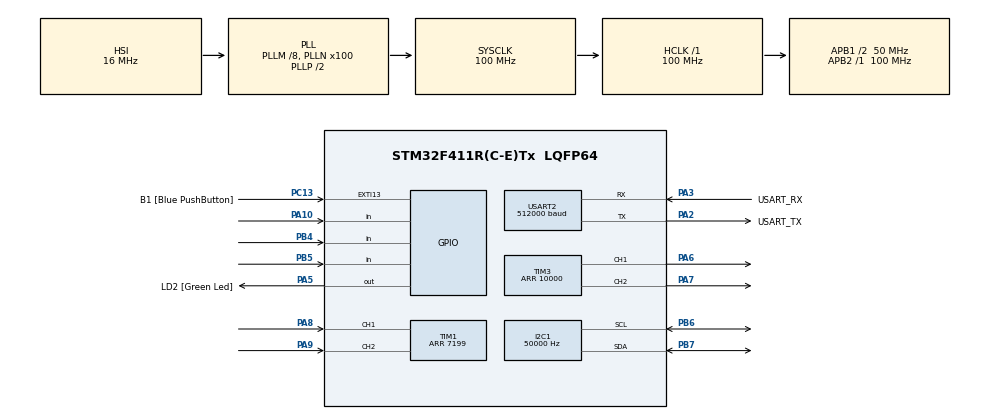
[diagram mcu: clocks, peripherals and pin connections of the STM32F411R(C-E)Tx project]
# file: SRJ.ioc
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Dma.Request0=USART2_RX
Dma.Request1=USART2_TX
Dma.USART2_RX.0.Direction=DMA_PERIPH_TO_MEMORY
Dma.USART2_RX.0.FIFOMode=DMA_FIFOMODE_DISABLE
Dma.USART2_RX.0.Instance=DMA1_Stream5
Dma.USART2_RX.0.MemDataAlignment=DMA_MDATAALIGN_BYTE
Dma.USART2_RX.0.MemInc=DMA_MINC_ENABLE
Dma.USART2_RX.0.Mode=DMA_CIRCULAR
Dma.USART2_RX.0.PeriphDataAlignment=DMA_PDATAALIGN_BYTE
Dma.USART2_RX.0.PeriphInc=DMA_PINC_DISABLE
Dma.USART2_RX.0.Priority=DMA_PRIORITY_LOW
Dma.USART2_TX.1.Direction=DMA_MEMORY_TO_PERIPH
Dma.USART2_TX.1.FIFOMode=DMA_FIFOMODE_DISABLE
Dma.USART2_TX.1.Instance=DMA1_Stream6
Dma.USART2_TX.1.MemDataAlignment=DMA_MDATAALIGN_BYTE
Dma.USART2_TX.1.MemInc=DMA_MINC_ENABLE
Dma.USART2_TX.1.Mode=DMA_NORMAL
Dma.USART2_TX.1.PeriphDataAlignment=DMA_PDATAALIGN_BYTE
Dma.USART2_TX.1.PeriphInc=DMA_PINC_DISABLE
Dma.USART2_TX.1.Priority=DMA_PRIORITY_LOW
I2C1.ClockSpeed=50000
I2C1.I2C_Mode=I2C_Standard
Mcu.Family=STM32F4
Mcu.Name=STM32F411R(C-E)Tx
Mcu.Package=LQFP64
NVIC.DMA1_Stream5_IRQn=true\:0\:0\:false\:false\:true\:false\:true
NVIC.DMA1_Stream6_IRQn=true\:0\:0\:false\:false\:true\:false\:true
NVIC.I2C1_ER_IRQn=true\:0\:0\:false\:false\:true\:true\:true
NVIC.I2C1_EV_IRQn=true\:0\:0\:false\:false\:true\:true\:true
NVIC.PriorityGroup=NVIC_PRIORITYGROUP_0
NVIC.TIM2_IRQn=true\:0\:0\:false\:false\:true\:true\:true
NVIC.TIM4_IRQn=true\:0\:0\:false\:false\:true\:true\:true
NVIC.USART2_IRQn=true\:0\:0\:false\:false\:true\:true\:true
PA10.Signal=GPIO_Input
PA13.GPIO_Label=TMS
PA13.Mode=Serial_Wire
PA13.Signal=SYS_JTMS-SWDIO
PA14.GPIO_Label=TCK
PA14.Mode=Serial_Wire
PA14.Signal=SYS_JTCK-SWCLK
PA2.GPIO_Label=USART_TX
PA2.Mode=Asynchronous
PA2.Signal=USART2_TX
PA3.GPIO_Label=USART_RX
PA3.Mode=Asynchronous
PA3.Signal=USART2_RX
PA5.GPIO_Label=LD2 [Green Led]
PA5.Signal=GPIO_Output
PA6.Signal=S_TIM3_CH1
PA7.Signal=S_TIM3_CH2
PA8.Signal=S_TIM1_CH1
PA9.Signal=S_TIM1_CH2
PB3.GPIO_Label=SWO
PB3.Signal=SYS_JTDO-SWO
PB4.Signal=GPIO_Input
PB5.Signal=GPIO_Input
PB6.Mode=I2C
PB6.Signal=I2C1_SCL
PB7.Mode=I2C
PB7.Signal=I2C1_SDA
PC13-ANTI_TAMP.GPIO_Label=B1 [Blue PushButton]
PC13-ANTI_TAMP.GPIO_ModeDefaultEXTI=GPIO_MODE_IT_FALLING
PC13-ANTI_TAMP.Signal=GPXTI13
PC14-OSC32_IN.Mode=LSE-External-Oscillator
PC14-OSC32_IN.Signal=RCC_OSC32_IN
PC15-OSC32_OUT.Mode=LSE-External-Oscillator
PC15-OSC32_OUT.Signal=RCC_OSC32_OUT
PH0\ -\ OSC_IN.Mode=HSE-External-Clock-Source
PH0\ -\ OSC_IN.Signal=RCC_OSC_IN
PH1\ -\ OSC_OUT.Mode=HSE-External-Clock-Source
PH1\ -\ OSC_OUT.Signal=RCC_OSC_OUT
ProjectManager.HeapSize=0x200
ProjectManager.StackSize=0x400
ProjectManager.TargetToolchain=STM32CubeIDE
RCC.48MHZClocksFreq_Value=50000000
RCC.AHBFreq_Value=100000000
RCC.APB1CLKDivider=RCC_HCLK_DIV2
RCC.APB1Freq_Value=50000000
RCC.APB1TimFreq_Value=100000000
RCC.APB2Freq_Value=100000000
RCC.APB2TimFreq_Value=100000000
RCC.CortexFreq_Value=100000000
RCC.FLatency-AdvancedSettings=FLASH_LATENCY_3
RCC.HCLKFreq_Value=100000000
RCC.HSE_VALUE=8000000
RCC.HSI_VALUE=16000000
RCC.PLLM=8
RCC.PLLN=100
RCC.SYSCLKFreq_VALUE=100000000
RCC.SYSCLKSource=RCC_SYSCLKSOURCE_PLLCLK
RCC.VCOOutputFreq_Value=200000000
SH.S_TIM1_CH1.0=TIM1_CH1,Encoder_Interface
SH.S_TIM1_CH2.0=TIM1_CH2,Encoder_Interface
SH.S_TIM3_CH1.0=TIM3_CH1,PWM Generation1 CH1
SH.S_TIM3_CH2.0=TIM3_CH2,PWM Generation2 CH2
TIM1.CounterMode=TIM_COUNTERMODE_UP
TIM1.EncoderMode=TIM_ENCODERMODE_TI12
TIM1.IC2Polarity=TIM_ICPOLARITY_FALLING
TIM1.Period=7199
TIM2.Prescaler=99
TIM3.Channel-PWM\ Generation1\ CH1=TIM_CHANNEL_1
TIM3.Channel-PWM\ Generation2\ CH2=TIM_CHANNEL_2
TIM3.Period=10000
TIM4.Period=10000
TIM4.Prescaler=99
USART2.BaudRate=512000
USART2.Parity=PARITY_EVEN
USART2.VirtualMode=VM_ASYNC
USART2.WordLength=WORDLENGTH_9B
VP_TIM2_VS_ClockSourceINT.Mode=Internal
VP_TIM4_VS_ClockSourceINT.Mode=Internal
board=NUCLEO-F411RE

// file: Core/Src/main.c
/* USER CODE BEGIN Header */
/**
  ******************************************************************************
  * @file           : main.c
  * @brief          : Main program body
  ******************************************************************************
  * @attention
  *
  * <h2><center>&copy; Copyright (c) 2022 STMicroelectronics.
  * All rights reserved.</center></h2>
  *
  * This software component is licensed by ST under BSD 3-Clause license,
  * the "License"; You may not use this file except in compliance with the
  * License. You may obtain a copy of the License at:
  *                        opensource.org/licenses/BSD-3-Clause
  *
  ******************************************************************************
  */
/* USER CODE END Header */
#include "main.h"

/* USER CODE BEGIN Includes */
#include "math.h"
#include "stdio.h"
#include <stdlib.h>
#include "string.h"
/* USER CODE END Includes */

/* USER CODE BEGIN PD */
#define EndeffAddress (0x23<<1)
/* USER CODE END PD */

I2C_HandleTypeDef hi2c1;

TIM_HandleTypeDef htim1;
TIM_HandleTypeDef htim2;
TIM_HandleTypeDef htim3;
TIM_HandleTypeDef htim4;

UART_HandleTypeDef huart2;
DMA_HandleTypeDef hdma_usart2_rx;
DMA_HandleTypeDef hdma_usart2_tx;

/* USER CODE BEGIN PV */

uint8_t test = 0;

uint8_t EmergencyArray[2] = {1,1};
uint8_t ButtonArray[2] = {1,1};  //[Now, Last] = {UP, UP}
uint64_t _micros = 0;
uint64_t Timestamp = 0;
uint64_t HomeTimestamp = 0;
uint64_t LaserTimestamp = 0;
uint64_t EmergencyTimestamp = 0;
uint64_t LaserDelay = 5000000;
uint8_t  HomeMode = 0;
uint8_t ProxiArray[2]   = {1,1};

int PWMOut = 0;

uint16_t RobotArm_Position = 0;

float dt    = 0.001;
float K_P	= 1200;
float K_I	= 650;
float K_D	= 0;

float a=0.9;float w=0.103;
float rad=0;float raw=0;
float Q=0;float R=0;float theta_est=0;float omega_est=0;float dt1=0.01;float theta_pd=0;float y=0;float p11=0;
float p12=0;float p21=0;float p22=0;float omega_pd=0;float a0=0;float a1=0;float a2=0;float a3=0;float a4=0;float a5=0;
float sb=0;float sa=0;float tf=0;float vb=0;float sbf=0;float t=0;float Vmax=0;float vcon =0;
float p=0;
float i=0;
float d=0;
float pre_error=0;float error=0;
uint8_t push=0;float n=0;float angle=0;float kalman_theta=0;float rb_pos=0;float float_encode=0;
uint8_t flag_case = 0;
float get_station=0;float get_position=0;float now_postion=0;
float sample1 = 99.0; float sample2 = 100.0;

uint8_t reverse = 0;
float distance = 0;

float graph_p=0;
float graph_v=0;
float graph_a=0;
float v_pre=0;
float v_aft=0;
float p2graph=0;
float v2graph=0;
float a2graph=0;

uint8_t LaserOpenCommand[1] = {0x45};

typedef struct _UartStructure
{
	UART_HandleTypeDef *huart;
	uint16_t TxLen, RxLen;
	uint8_t *TxBuffer;
	uint16_t TxTail, TxHead;
	uint8_t *RxBuffer;
	uint16_t RxTail;

} UARTStucrture;

UARTStucrture UART2 = { 0 };

float pi = 3.14159265359;

float    Lastest_Angle = 0;
float    Current_Angle = 0;
uint8_t  Current_Station = 0;
uint8_t  Current_Multi_Station = 0; // 1-15
uint8_t  Clockwise = 0;
uint8_t  Goal_Mode = 0; // 1-3
float    Speed = 0;
uint8_t   s = 0;
uint8_t ak[2] = {0};

uint8_t  Serial_Mode;
uint16_t Serial_Angle;
uint8_t  Serial_Speed;

uint16_t Delay = 0;
uint8_t Emergency = 0;
uint8_t Run  = 0;
uint8_t Home = 0;
uint8_t SpecialHome = 0;
uint8_t Laser = 0;
uint8_t MCU_Connected = 0;
uint8_t EndEff_Enable = 0;
float Max_Speed = 0;
float Goal_Angle = 0;
uint8_t Single_Station = 0;

int16_t InputChar      	= 0;
uint8_t InputByte 		= 0;
uint8_t ChkSum			= 0;
uint8_t Data_Frame2[2]  = {0};
uint8_t Data_Frame3[8]  = {0};

uint8_t Multi_Station[16] = {0};
uint8_t Multi_Station_Amount = 0;
uint8_t Multi_Station_Current = 0;

//uint16_t Multi_Station_Angle[11] = {0};
//                                        1  2  3  4   5  6   7   8   9  10
uint16_t Multi_Station_Angle[11] = {0,    80,85,90,95,260,25,115,205,295,0};
//uint16_t Multi_Station_Angle[11] = {0,    0,5,45,65,90,180,210,270,325,355};

uint8_t UART_Mode = 0;

uint8_t UART_Mode_Print = 0;

uint8_t UART_Flow2_Ack = 0;

typedef enum
{
	Start,

	Frame1_CheckSum,

	Frame2_Data1,
	Frame2_Data2,
	Frame2_CheckSum,

	Frame3_Station,
	Frame3_Data,
	Frame3_CheckSum,

} ProtocalState;

/* USER CODE END PV */

void SystemClock_Config(void);
static void MX_GPIO_Init(void);
static void MX_DMA_Init(void);
static void MX_USART2_UART_Init(void);
static void MX_I2C1_Init(void);
static void MX_TIM1_Init(void);
static void MX_TIM3_Init(void);
static void MX_TIM2_Init(void);
static void MX_TIM4_Init(void);
/* USER CODE BEGIN PFP */

void NucleoCheck();
void EmergencyCheck();
uint64_t micros();
void ProxiCheck();
void MotorDrive();
void SetHome();
uint32_t EncoderPosition_Update();
float EncoderVelocity_Update();
void ReachGoal();
void pid();
void kalmanfilter();
void planning();
void VariableReset();

void UARTInit(UARTStucrture *uart);
void UARTResetStart(UARTStucrture *uart);
uint32_t UARTGetRxHead(UARTStucrture *uart);
int16_t UARTReadChar(UARTStucrture *uart);
void UARTTxDumpBuffer(UARTStucrture *uart);
void UARTTxWrite(UARTStucrture *uart, uint8_t *pData, uint16_t len);

void UART_Ack1();
void UART_Ack2();
void UART_Flow2();
void UART_Protocal();
void UART_Execute();

/* USER CODE END PFP */

int main(void)
{

  /* MCU Configuration--------------------------------------------------------*/

  /* Reset of all peripherals, Initializes the Flash interface and the Systick. */
  HAL_Init();

  /* Configure the system clock */
  SystemClock_Config();

  /* Initialize all configured peripherals */
  MX_GPIO_Init();
  MX_DMA_Init();
  MX_USART2_UART_Init();
  MX_I2C1_Init();
  MX_TIM1_Init();
  MX_TIM3_Init();
  MX_TIM2_Init();
  MX_TIM4_Init();
  /* USER CODE BEGIN 2 */
  UART2.huart = &huart2;
  UART2.RxLen = 255;
  UART2.TxLen = 255;
  UARTInit(&UART2);
  UARTResetStart(&UART2);

  HAL_TIM_Base_Start_IT(&htim2);
  HAL_TIM_Base_Start(&htim3);
  HAL_TIM_PWM_Start(&htim3, TIM_CHANNEL_1);
  HAL_TIM_PWM_Start(&htim3, TIM_CHANNEL_2);

  if(HAL_GPIO_ReadPin(GPIOA, GPIO_PIN_10) == 1)
  {
	  HomeMode = 10;
	  SetHome();
  }
  /* USER CODE END 2 */

  /* Infinite loop */
  /* USER CODE BEGIN WHILE */
  /////////////////////////////////////////////////////////////
  while (1)
  {
	  if (micros() - Timestamp >= 10000) //10000us = 0.01s = 100Hz
	  {
		  Timestamp = micros();

		  NucleoCheck();
		  EmergencyCheck();

		  if(UART_Flow2_Ack)
		  {
			while(1)
			{
				while(1)
				{
					InputChar = UARTReadChar(&UART2);
					if(InputChar != -1)
					{
						InputByte = (uint8_t)InputChar;
						ak[0] = InputByte;
						break;
					}
				}
				while(1)
				{
					InputChar = UARTReadChar(&UART2);
					if(InputChar != -1)
					{
						InputByte = (uint8_t)InputChar;
						ak[1] = InputByte;
						break;
					}
				}
				if(ak[0] == 'X' && ak[1] == 'u')
				{
					break;
				}
			}
		  }
		  else
		  {
			  UART_Protocal();
		  }

		  //----------------------------------------------

		  if(Laser)
		  {
			  if(EndEff_Enable) { LaserDelay = 5000000; } //5000000us = 5s
			  else              { LaserDelay = 1000000; } //1000000us = 1s

			  if (micros() - LaserTimestamp >= LaserDelay)
			  {
				  if(Goal_Mode == 3)
				  {
					  if(Current_Multi_Station == Multi_Station_Amount-1)
					  {
						  UART_Ack2();
						  Goal_Mode = 0;
					  }
					  else
					  {
						  Current_Multi_Station += 1;
						  angle = Multi_Station_Angle[ Multi_Station[Current_Multi_Station] ];
						  Lastest_Angle = Current_Angle;
						  Run = 1;
					  }
				  }
				  else
				  {
					  UART_Ack2();
					  Goal_Mode = 0;
				  }
				  Laser = 0;
				  t = 0;
			  }
		  }

		  if(Emergency)
		  {
			  if(Emergency == 2)
			  {
				  if(micros() - EmergencyTimestamp >= 1000000)
				  {
					  VariableReset();
					  Emergency = 0;
					  Lastest_Angle = Current_Angle;
					  t = 0;
				  }
				  else
				  {
					  PWMOut = 0;
					  MotorDrive();
				  }
			  }
		  }
		  else if(Run)
		  {
			  if(angle == 0)
			  {
				  angle = 10;
				  SpecialHome = 1;
			  }
			  else
			  {
				  RobotArm_Position = EncoderPosition_Update();
				  EncoderVelocity_Update();
				  planning();
				  kalmanfilter();
				  pid();
				  MotorDrive();
			  }
		  }

		  else if(Home)
		  {
			  RobotArm_Position = EncoderPosition_Update();
			  kalmanfilter();
			  SetHome();
		  }
	  }

    /* USER CODE END WHILE */

    /* USER CODE BEGIN 3 */
  }
  /////////////////////////////////////////////////////////////
  /* USER CODE END 3 */
}

void SystemClock_Config(void)
{
  RCC_OscInitTypeDef RCC_OscInitStruct = {0};
  RCC_ClkInitTypeDef RCC_ClkInitStruct = {0};

  /** Configure the main internal regulator output voltage
  */
  __HAL_RCC_PWR_CLK_ENABLE();
  __HAL_PWR_VOLTAGESCALING_CONFIG(PWR_REGULATOR_VOLTAGE_SCALE1);
  /** Initializes the RCC Oscillators according to the specified parameters
  * in the RCC_OscInitTypeDef structure.
  */
  RCC_OscInitStruct.OscillatorType = RCC_OSCILLATORTYPE_HSI;
  RCC_OscInitStruct.HSIState = RCC_HSI_ON;
  RCC_OscInitStruct.HSICalibrationValue = RCC_HSICALIBRATION_DEFAULT;
  RCC_OscInitStruct.PLL.PLLState = RCC_PLL_ON;
  RCC_OscInitStruct.PLL.PLLSource = RCC_PLLSOURCE_HSI;
  RCC_OscInitStruct.PLL.PLLM = 8;
  RCC_OscInitStruct.PLL.PLLN = 100;
  RCC_OscInitStruct.PLL.PLLP = RCC_PLLP_DIV2;
  RCC_OscInitStruct.PLL.PLLQ = 4;
  if (HAL_RCC_OscConfig(&RCC_OscInitStruct) != HAL_OK)
  {
    Error_Handler();
  }
  /** Initializes the CPU, AHB and APB buses clocks
  */
  RCC_ClkInitStruct.ClockType = RCC_CLOCKTYPE_HCLK|RCC_CLOCKTYPE_SYSCLK
                              |RCC_CLOCKTYPE_PCLK1|RCC_CLOCKTYPE_PCLK2;
  RCC_ClkInitStruct.SYSCLKSource = RCC_SYSCLKSOURCE_PLLCLK;
  RCC_ClkInitStruct.AHBCLKDivider = RCC_SYSCLK_DIV1;
  RCC_ClkInitStruct.APB1CLKDivider = RCC_HCLK_DIV2;
  RCC_ClkInitStruct.APB2CLKDivider = RCC_HCLK_DIV1;

  if (HAL_RCC_ClockConfig(&RCC_ClkInitStruct, FLASH_LATENCY_3) != HAL_OK)
  {
    Error_Handler();
  }
}

static void MX_I2C1_Init(void)
{

  hi2c1.Instance = I2C1;
  hi2c1.Init.ClockSpeed = 50000;
  hi2c1.Init.DutyCycle = I2C_DUTYCYCLE_2;
  hi2c1.Init.OwnAddress1 = 0;
  hi2c1.Init.AddressingMode = I2C_ADDRESSINGMODE_7BIT;
  hi2c1.Init.DualAddressMode = I2C_DUALADDRESS_DISABLE;
  hi2c1.Init.OwnAddress2 = 0;
  hi2c1.Init.GeneralCallMode = I2C_GENERALCALL_DISABLE;
  hi2c1.Init.NoStretchMode = I2C_NOSTRETCH_DISABLE;
  if (HAL_I2C_Init(&hi2c1) != HAL_OK)
  {
    Error_Handler();
  }

}

static void MX_TIM1_Init(void)
{

  TIM_Encoder_InitTypeDef sConfig = {0};
  TIM_MasterConfigTypeDef sMasterConfig = {0};

  htim1.Instance = TIM1;
  htim1.Init.Prescaler = 0;
  htim1.Init.CounterMode = TIM_COUNTERMODE_UP;
  htim1.Init.Period = 7199;
  htim1.Init.ClockDivision = TIM_CLOCKDIVISION_DIV1;
  htim1.Init.RepetitionCounter = 0;
  htim1.Init.AutoReloadPreload = TIM_AUTORELOAD_PRELOAD_DISABLE;
  sConfig.EncoderMode = TIM_ENCODERMODE_TI12;
  sConfig.IC1Polarity = TIM_ICPOLARITY_RISING;
  sConfig.IC1Selection = TIM_ICSELECTION_DIRECTTI;
  sConfig.IC1Prescaler = TIM_ICPSC_DIV1;
  sConfig.IC1Filter = 0;
  sConfig.IC2Polarity = TIM_ICPOLARITY_FALLING;
  sConfig.IC2Selection = TIM_ICSELECTION_DIRECTTI;
  sConfig.IC2Prescaler = TIM_ICPSC_DIV1;
  sConfig.IC2Filter = 0;
  if (HAL_TIM_Encoder_Init(&htim1, &sConfig) != HAL_OK)
  {
    Error_Handler();
  }
  sMasterConfig.MasterOutputTrigger = TIM_TRGO_RESET;
  sMasterConfig.MasterSlaveMode = TIM_MASTERSLAVEMODE_DISABLE;
  if (HAL_TIMEx_MasterConfigSynchronization(&htim1, &sMasterConfig) != HAL_OK)
  {
    Error_Handler();
  }

}

static void MX_TIM2_Init(void)
{

  TIM_ClockConfigTypeDef sClockSourceConfig = {0};
  TIM_MasterConfigTypeDef sMasterConfig = {0};

  htim2.Instance = TIM2;
  htim2.Init.Prescaler = 99;
  htim2.Init.CounterMode = TIM_COUNTERMODE_UP;
  htim2.Init.Period = 4294967295;
  htim2.Init.ClockDivision = TIM_CLOCKDIVISION_DIV1;
  htim2.Init.AutoReloadPreload = TIM_AUTORELOAD_PRELOAD_DISABLE;
  if (HAL_TIM_Base_Init(&htim2) != HAL_OK)
  {
    Error_Handler();
  }
  sClockSourceConfig.ClockSource = TIM_CLOCKSOURCE_INTERNAL;
  if (HAL_TIM_ConfigClockSource(&htim2, &sClockSourceConfig) != HAL_OK)
  {
    Error_Handler();
  }
  sMasterConfig.MasterOutputTrigger = TIM_TRGO_RESET;
  sMasterConfig.MasterSlaveMode = TIM_MASTERSLAVEMODE_DISABLE;
  if (HAL_TIMEx_MasterConfigSynchronization(&htim2, &sMasterConfig) != HAL_OK)
  {
    Error_Handler();
  }

}

static void MX_TIM3_Init(void)
{

  TIM_MasterConfigTypeDef sMasterConfig = {0};
  TIM_OC_InitTypeDef sConfigOC = {0};

  htim3.Instance = TIM3;
  htim3.Init.Prescaler = 0;
  htim3.Init.CounterMode = TIM_COUNTERMODE_UP;
  htim3.Init.Period = 10000;
  htim3.Init.ClockDivision = TIM_CLOCKDIVISION_DIV1;
  htim3.Init.AutoReloadPreload = TIM_AUTORELOAD_PRELOAD_DISABLE;
  if (HAL_TIM_PWM_Init(&htim3) != HAL_OK)
  {
    Error_Handler();
  }
  sMasterConfig.MasterOutputTrigger = TIM_TRGO_RESET;
  sMasterConfig.MasterSlaveMode = TIM_MASTERSLAVEMODE_DISABLE;
  if (HAL_TIMEx_MasterConfigSynchronization(&htim3, &sMasterConfig) != HAL_OK)
  {
    Error_Handler();
  }
  sConfigOC.OCMode = TIM_OCMODE_PWM1;
  sConfigOC.Pulse = 0;
  sConfigOC.OCPolarity = TIM_OCPOLARITY_HIGH;
  sConfigOC.OCFastMode = TIM_OCFAST_DISABLE;
  if (HAL_TIM_PWM_ConfigChannel(&htim3, &sConfigOC, TIM_CHANNEL_1) != HAL_OK)
  {
    Error_Handler();
  }
  if (HAL_TIM_PWM_ConfigChannel(&htim3, &sConfigOC, TIM_CHANNEL_2) != HAL_OK)
  {
    Error_Handler();
  }
  HAL_TIM_MspPostInit(&htim3);

}

static void MX_TIM4_Init(void)
{

  TIM_ClockConfigTypeDef sClockSourceConfig = {0};
  TIM_MasterConfigTypeDef sMasterConfig = {0};

  htim4.Instance = TIM4;
  htim4.Init.Prescaler = 99;
  htim4.Init.CounterMode = TIM_COUNTERMODE_UP;
  htim4.Init.Period = 10000;
  htim4.Init.ClockDivision = TIM_CLOCKDIVISION_DIV1;
  htim4.Init.AutoReloadPreload = TIM_AUTORELOAD_PRELOAD_DISABLE;
  if (HAL_TIM_Base_Init(&htim4) != HAL_OK)
  {
    Error_Handler();
  }
  sClockSourceConfig.ClockSource = TIM_CLOCKSOURCE_INTERNAL;
  if (HAL_TIM_ConfigClockSource(&htim4, &sClockSourceConfig) != HAL_OK)
  {
    Error_Handler();
  }
  sMasterConfig.MasterOutputTrigger = TIM_TRGO_RESET;
  sMasterConfig.MasterSlaveMode = TIM_MASTERSLAVEMODE_DISABLE;
  if (HAL_TIMEx_MasterConfigSynchronization(&htim4, &sMasterConfig) != HAL_OK)
  {
    Error_Handler();
  }

}

static void MX_USART2_UART_Init(void)
{

  huart2.Instance = USART2;
  huart2.Init.BaudRate = 512000;
  huart2.Init.WordLength = UART_WORDLENGTH_9B;
  huart2.Init.StopBits = UART_STOPBITS_1;
  huart2.Init.Parity = UART_PARITY_EVEN;
  huart2.Init.Mode = UART_MODE_TX_RX;
  huart2.Init.HwFlowCtl = UART_HWCONTROL_NONE;
  huart2.Init.OverSampling = UART_OVERSAMPLING_16;
  if (HAL_UART_Init(&huart2) != HAL_OK)
  {
    Error_Handler();
  }

}

static void MX_DMA_Init(void)
{

  /* DMA controller clock enable */
  __HAL_RCC_DMA1_CLK_ENABLE();

  /* DMA interrupt init */
  /* DMA1_Stream5_IRQn interrupt configuration */
  HAL_NVIC_SetPriority(DMA1_Stream5_IRQn, 0, 0);
  HAL_NVIC_EnableIRQ(DMA1_Stream5_IRQn);
  /* DMA1_Stream6_IRQn interrupt configuration */
  HAL_NVIC_SetPriority(DMA1_Stream6_IRQn, 0, 0);
  HAL_NVIC_EnableIRQ(DMA1_Stream6_IRQn);

}

static void MX_GPIO_Init(void)
{
  GPIO_InitTypeDef GPIO_InitStruct = {0};

  /* GPIO Ports Clock Enable */
  __HAL_RCC_GPIOC_CLK_ENABLE();
  __HAL_RCC_GPIOH_CLK_ENABLE();
  __HAL_RCC_GPIOA_CLK_ENABLE();
  __HAL_RCC_GPIOB_CLK_ENABLE();

  /*Configure GPIO pin Output Level */
  HAL_GPIO_WritePin(LD2_GPIO_Port, LD2_Pin, GPIO_PIN_RESET);

  /*Configure GPIO pin : B1_Pin */
  GPIO_InitStruct.Pin = B1_Pin;
  GPIO_InitStruct.Mode = GPIO_MODE_IT_FALLING;
  GPIO_InitStruct.Pull = GPIO_NOPULL;
  HAL_GPIO_Init(B1_GPIO_Port, &GPIO_InitStruct);

  /*Configure GPIO pin : LD2_Pin */
  GPIO_InitStruct.Pin = LD2_Pin;
  GPIO_InitStruct.Mode = GPIO_MODE_OUTPUT_PP;
  GPIO_InitStruct.Pull = GPIO_NOPULL;
  GPIO_InitStruct.Speed = GPIO_SPEED_FREQ_LOW;
  HAL_GPIO_Init(LD2_GPIO_Port, &GPIO_InitStruct);

  /*Configure GPIO pin : PA10 */
  GPIO_InitStruct.Pin = GPIO_PIN_10;
  GPIO_InitStruct.Mode = GPIO_MODE_INPUT;
  GPIO_InitStruct.Pull = GPIO_NOPULL;
  HAL_GPIO_Init(GPIOA, &GPIO_InitStruct);

  /*Configure GPIO pins : PB4 PB5 */
  GPIO_InitStruct.Pin = GPIO_PIN_4|GPIO_PIN_5;
  GPIO_InitStruct.Mode = GPIO_MODE_INPUT;
  GPIO_InitStruct.Pull = GPIO_NOPULL;
  HAL_GPIO_Init(GPIOB, &GPIO_InitStruct);

}

/* USER CODE BEGIN 4 */
//******************************************************************

void NucleoCheck()
{
	ButtonArray[1] = ButtonArray[0];
	ButtonArray[0] = HAL_GPIO_ReadPin(B1_GPIO_Port, B1_Pin);

	if(ButtonArray[0]==1 && ButtonArray[1]==0) //When Released Button
	{
		HAL_GPIO_TogglePin(LD2_GPIO_Port, LD2_Pin);
	}
}

void EmergencyCheck()
{
	EmergencyArray[1] = EmergencyArray[0];
	EmergencyArray[0] = HAL_GPIO_ReadPin(GPIOA, GPIO_PIN_10);

	if(EmergencyArray[0]==0 && EmergencyArray[1]==1) //When Pressed Emergency
	{
		Emergency = 1;
		PWMOut = 0;
		MotorDrive();
	}
	else if(EmergencyArray[0]==1 && EmergencyArray[1]==0) //When Released Emergency
	{
		PWMOut = 0;
		MotorDrive();
		Emergency = 2;
		EmergencyTimestamp = micros();
	}
}

void HAL_TIM_PeriodElapsedCallback(TIM_HandleTypeDef *htim)
{
	if (htim == &htim2)
	{
		_micros += 4294967295;
	}
}

uint64_t micros()
{
	return _micros + htim2.Instance->CNT;
}

void ProxiCheck()
{
	ProxiArray[0] = HAL_GPIO_ReadPin(GPIOB, GPIO_PIN_5);
	ProxiArray[1] = HAL_GPIO_ReadPin(GPIOB, GPIO_PIN_4);
}

void MotorDrive()
{
	if(PWMOut >= 0)
	{
		__HAL_TIM_SET_COMPARE(&htim3, TIM_CHANNEL_1, PWMOut);
		__HAL_TIM_SET_COMPARE(&htim3, TIM_CHANNEL_2, 0);
	}
	else
	{
		__HAL_TIM_SET_COMPARE(&htim3, TIM_CHANNEL_1, 0);
		__HAL_TIM_SET_COMPARE(&htim3, TIM_CHANNEL_2, -PWMOut);
	}
}

void SetHome()
{
	if(HomeMode == 1)
	{
		PWMOut = 750;
		MotorDrive();
		if (micros() - HomeTimestamp >= 200000) //200000us = 0.2s
		{
			HomeMode = 2;
		}
	}
	else if(HomeMode == 2)
	{
		PWMOut = -2500;
		MotorDrive();
		if (HAL_GPIO_ReadPin(GPIOB, GPIO_PIN_4) == 0)
		{
			HomeMode = 3;
		}
	}
	else if(HomeMode == 3)
	{
		PWMOut = -600;
		MotorDrive();
		if (HAL_GPIO_ReadPin(GPIOB, GPIO_PIN_5) == 0)
		{
			HomeMode = 4;
			HomeTimestamp = micros();
		}
	}

	else if(HomeMode == 4)
	{
		PWMOut = 0;
		MotorDrive();
		if (micros() - HomeTimestamp >= 500000) //500000us = 0.5s
		{
			htim1.Instance->CNT = 0;
			HomeMode = 0;
			Home = 0;
			Lastest_Angle = 0;
			if(Goal_Mode != 0)
			{
				SpecialHome = 0;
				ReachGoal();
			}
		}
	}

	else if(HomeMode == 10)
	{
		PWMOut = 750;
		MotorDrive();
		HAL_Delay(200);

		PWMOut = -2500;
		while(HAL_GPIO_ReadPin(GPIOB, GPIO_PIN_4) == 1)
		{
			MotorDrive();
		}

		PWMOut = -600;
		while(HAL_GPIO_ReadPin(GPIOB, GPIO_PIN_5) == 1)
		{
			MotorDrive();
		}

		PWMOut = 0;
		MotorDrive();
		HAL_Delay(500);
		HAL_TIM_Encoder_Start(&htim1, TIM_CHANNEL_ALL);
		HomeMode = 0;
	}
}

#define  HTIM_ENCODER htim1
#define  MAX_SUBPOSITION_OVERFLOW 3600
#define  MAX_ENCODER_PERIOD 7200

uint32_t EncoderPosition_Update()
{
	return HTIM_ENCODER.Instance->CNT;
}

float EncoderVelocity_Update()
{
	static uint32_t EncoderLastPosition = 0;
	static uint64_t EncoderLastTimestamp = 0;
	uint32_t EncoderNowPosition = HTIM_ENCODER.Instance->CNT;
	uint64_t EncoderNowTimestamp = micros();
	int32_t EncoderPositionDiff;
	uint64_t EncoderTimeDiff; sample2 = 104.0;
	EncoderTimeDiff = EncoderNowTimestamp - EncoderLastTimestamp;
	EncoderPositionDiff = EncoderNowPosition - EncoderLastPosition;
	if (EncoderPositionDiff >= MAX_SUBPOSITION_OVERFLOW)
	{EncoderPositionDiff -= MAX_ENCODER_PERIOD;}
	else if (-EncoderPositionDiff >= MAX_SUBPOSITION_OVERFLOW)
	{EncoderPositionDiff += MAX_ENCODER_PERIOD;}
	EncoderLastPosition = EncoderNowPosition;
	EncoderLastTimestamp = EncoderNowTimestamp;
	raw =(float)(EncoderPositionDiff * 1000000.00) / (float) EncoderTimeDiff;
	rad = raw* 0.05*2.00*3.141592/360.00;
	return rad;
}

void kalmanfilter()
{    Q = pow(a,2);
	 R = pow(w,2);
	 theta_est = theta_pd + omega_pd*dt1;
	 omega_est = omega_pd;

	 v_pre = omega_est;

	 y = (rad-omega_est);

    p11 = p11 + dt1*p21+ (Q*pow(dt1,4))/4 + (pow(dt1,2))*(p12+dt1*p22)/dt1;
    p12 = p12 + dt1*p22 + (Q*dt1*pow(dt1,2))/2;
    p21 = (2*dt1*p21+Q*pow(dt1,4) + 2*p22*pow(dt1,2))/(2*dt1);
    p22 = Q*pow(dt1,2)+p22;

    theta_est+= (p12*y)/(R+p22);
    omega_est+= (p22*y)/(R+p22);

    p11=p11-(p12*p21)/(R+p22);
    p12=p12-(p22*p21)/(R+p22);
    p21=-p21*(p22/(R+p22)-1);
    p22=-p22*(p22/(R+p22)-1);

    theta_pd=theta_est;
    omega_pd=omega_est;

    kalman_theta=(float)(theta_est*57.2958);

    p2graph = RobotArm_Position / 20.00;
    v2graph = omega_est * 8.1493;
    a2graph = ( ( a2graph*sample1 ) + ( (float)((v_pre-v_aft)/0.01) ) ) / sample2; //Add Low Pass Filter
    v_aft = v_pre;
}

void planning()
{
  t=t+0.01;
  Vmax = Max_Speed * 0.10472 * 0.95;     //rad/s
  sb = angle*0.0174533;           //degree -> rad
  sa = Lastest_Angle * 0.0174533; //degree -> rad

  if(sb < sa) { reverse = 1; distance = Lastest_Angle - angle; tf = 15.00*(sa-sb)/(8.00*Vmax); }
  else        { reverse = 0; distance = angle - Lastest_Angle; tf = 15.00*(sb-sa)/(8.00*Vmax); }

  if (distance <=32)
  { flag_case = 1; }

  if (distance > 32){

	  flag_case = 2;
//	  if(0.5>=(5.7335*(sb-sa)/(pow(tf,2))))  //check accerelation
//	  {tf=tf;}
//	  else{tf=pow((5.7335*(sb-sa)/0.5),0.5);}
	  if(Max_Speed == 10)
	  {
		  if(reverse) { tf=pow((5.7335*(sa-sb)/0.5),0.5) * 0.9; }
		  else        { tf=pow((5.7335*(sb-sa)/0.5),0.5) * 0.9; }
	  }
	  a0=0;
	  a1=0;
	  a2=0;
	  a3= 10.00*(sb-sa)/(pow(tf,3));
	  a4= -15.00*(sb-sa)/(pow(tf,4));
	  a5= 6.00*(sb-sa)/(pow(tf,5));
	  if(t<=tf){
		  sbf =  a3*pow(t,3)+a4*pow(t,4)+a5*pow(t,5);
		  vb= (float)((3*a3*pow(t,2))+(4*a4*pow(t,3))+(5*a5*pow(t,4)));}
	  else { vb=0; }
  }
}

void VariableReset()
{
	theta_est = 0;
	omega_est = 0;
    theta_pd = 0;
	omega_pd = 0;
	vb = 0;
	error = 0;
	p = 0;
	i = 0;
	d = 0;
	pre_error = 0;
}

void ReachGoal()
{
	VariableReset();

	if(SpecialHome)
	{
	  PWMOut=0;
	  MotorDrive();
	  Run = 0;
	  Home = 1;
	  HomeMode = 2;
	}
	else
	{
//		omega_est = 0;
		PWMOut=0;
		MotorDrive();
		Run=0;
		if(EndEff_Enable) { HAL_I2C_Master_Transmit_IT(&hi2c1, EndeffAddress, LaserOpenCommand, 1); }
		Laser = 1;
		LaserTimestamp = micros();
	}
}

void pid()
{
	if  (flag_case == 2)
	{
		 error = vb-omega_est;
		 p = (error);
		 i = i+error;
		 d = error - pre_error;
		 pre_error = error;
		 PWMOut =( (p*K_P)+(i*K_I)+(d*K_D));

		 if(vb==0)
		 {
			if(SpecialHome)
			{
				ReachGoal();
			}
			else
			{
				if(reverse)
				{
					if((uint16_t)(angle*20) < 30*20 && (RobotArm_Position) > 330*20)
					{
						PWMOut=600;
					}
					else if((RobotArm_Position) < (uint16_t)(angle*20))
					{
						PWMOut=600;
					}
					else if((RobotArm_Position) > (uint16_t)(angle*20))
					{
						PWMOut=-600;
					}
				}
				else
				{
					if((uint16_t)(angle*20) > 330*20 && (RobotArm_Position) < 30*20)
					{
						PWMOut=-600;
					}
					else if((RobotArm_Position) < (uint16_t)(angle*20))
					{
						PWMOut=600;
					}
					else if((RobotArm_Position) > (uint16_t)(angle*20))
					{
						PWMOut=-600;
					}
				}

				if((RobotArm_Position) == (uint16_t)(angle*20))
				{
					ReachGoal();
				}
			}
		 }
	}

	else if (flag_case == 1)
	{
		if(reverse)
		{
			if((uint16_t)(angle*20) < 30*20 && (RobotArm_Position) > 330*20)
			{
				PWMOut=600;
			}
			else if((RobotArm_Position) < (uint16_t)(angle*20))
			{
				PWMOut=300;
			}
			else if((RobotArm_Position) > (uint16_t)(angle*20))
			{
				PWMOut=-1000;
			}
		}
		else
		{
			if((uint16_t)(angle*20) > 330*20 && (RobotArm_Position) < 30*20)
			{
				PWMOut=-600;
			}
			else if((RobotArm_Position) < (uint16_t)(angle*20))
			{
				PWMOut=1000;
			}
			else if((RobotArm_Position) > (uint16_t)(angle*20))
			{
				PWMOut=-300;
			}
		}

		if((RobotArm_Position) == (uint16_t)(angle*20))
		{
			ReachGoal();
		}
	}
}

void UARTInit(UARTStucrture *uart)
{
	//dynamic memory allocate
	uart->RxBuffer = (uint8_t*) calloc(sizeof(uint8_t), UART2.RxLen);
	uart->TxBuffer = (uint8_t*) calloc(sizeof(uint8_t), UART2.TxLen);
	uart->RxTail = 0;
	uart->TxTail = 0;
	uart->TxHead = 0;

}

void UARTResetStart(UARTStucrture *uart)
{
	HAL_UART_Receive_DMA(uart->huart, uart->RxBuffer, uart->RxLen);
}

uint32_t UARTGetRxHead(UARTStucrture *uart)
{
	return uart->RxLen - __HAL_DMA_GET_COUNTER(uart->huart->hdmarx);
}

int16_t UARTReadChar(UARTStucrture *uart)
{
	int16_t Result = -1; // -1 Mean no new data

	//check Buffer Position
	if (uart->RxTail != UARTGetRxHead(uart))
	{
		//get data from buffer
		Result = uart->RxBuffer[uart->RxTail];
		uart->RxTail = (uart->RxTail + 1) % uart->RxLen;

	}
	return Result;
}

void UARTTxDumpBuffer(UARTStucrture *uart)
{
	static uint8_t MultiProcessBlocker = 0;

	if (uart->huart->gState == HAL_UART_STATE_READY && !MultiProcessBlocker)
	{
		MultiProcessBlocker = 1;

		if (uart->TxHead != uart->TxTail)
		{
			//find len of data in buffer (Circular buffer but do in one way)
			uint16_t sentingLen =
					uart->TxHead > uart->TxTail ?
							uart->TxHead - uart->TxTail :
							uart->TxLen - uart->TxTail;

			//sent data via DMA
			HAL_UART_Transmit_DMA(uart->huart, &(uart->TxBuffer[uart->TxTail]),
					sentingLen);
			//move tail to new position
			uart->TxTail = (uart->TxTail + sentingLen) % uart->TxLen;

		}
		MultiProcessBlocker = 0;
	}
}

void UARTTxWrite(UARTStucrture *uart, uint8_t *pData, uint16_t len)
{
	//check data len is more than buffur?
	uint16_t lenAddBuffer = (len <= uart->TxLen) ? len : uart->TxLen;
	// find number of data before end of ring buffer
	uint16_t numberOfdataCanCopy =
			lenAddBuffer <= uart->TxLen - uart->TxHead ?
					lenAddBuffer : uart->TxLen - uart->TxHead;
	//copy data to the buffer
	memcpy(&(uart->TxBuffer[uart->TxHead]), pData, numberOfdataCanCopy);

	//Move Head to new position

	uart->TxHead = (uart->TxHead + lenAddBuffer) % uart->TxLen;
	//Check that we copy all data That We can?
	if (lenAddBuffer != numberOfdataCanCopy)
	{
		memcpy(uart->TxBuffer, &(pData[numberOfdataCanCopy]),
				lenAddBuffer - numberOfdataCanCopy);
	}
	UARTTxDumpBuffer(uart);
}

void UART_Ack1()
{
	uint8_t temp[1];
	temp[0] = 'X'; //0x58
	UARTTxWrite(&UART2, temp, 1);
	HAL_Delay(1);
	temp[0] = 'u'; //0b01110101
	UARTTxWrite(&UART2, temp, 1);
	// HAL_Delay(1);
}

void UART_Ack2()
{
	uint8_t temp[1];
	temp[0] = 'F'; //70
	UARTTxWrite(&UART2, temp, 1);
	HAL_Delay(1);
	temp[0] = 'n'; //0o156
	UARTTxWrite(&UART2, temp, 1);
	// HAL_Delay(1);
}

void UART_Flow2()
{
	Serial_Mode  = (0b10010000 | UART_Mode);
	Serial_Angle = (uint16_t)(Current_Angle * 10000 * pi / 180);
	Serial_Speed = (uint8_t) (Speed * 255 / 10);

	ChkSum = Serial_Mode;

	uint8_t temp[1];
	temp[0] = Serial_Mode;
	UARTTxWrite(&UART2, temp, 1);
	HAL_Delay(1);

	if(UART_Mode == 10) { temp[0] = (uint8_t)(Serial_Angle / 256); }
	else                { temp[0] = 0; }
	ChkSum += temp[0];
	UARTTxWrite(&UART2, temp, 1);
	HAL_Delay(1);

	if(UART_Mode == 9)       { temp[0] = Current_Station; }
	else if(UART_Mode == 10) { temp[0] = (uint8_t)(Serial_Angle % 256); }
	else if(UART_Mode == 11) { temp[0] = Serial_Speed; }
	ChkSum += temp[0];
	UARTTxWrite(&UART2, temp, 1);
	HAL_Delay(1);

	ChkSum = ~(ChkSum);
	temp[0] = ChkSum;
	UARTTxWrite(&UART2, temp, 1);
	// HAL_Delay(1);
}

void UART_Protocal()
{
	static ProtocalState State = Start;

	InputChar = UARTReadChar(&UART2);

	if (InputChar != -1)
	{
		InputByte = (uint8_t)InputChar;

		switch(State)
		{
			case Start:
				if( ((InputByte>>4) & 0b00001111) == 0b00001001)
				{
					UART_Mode = InputByte & 0b00001111;
					UART_Mode_Print = UART_Mode;
				}
				if(UART_Mode >=1 && UART_Mode <= 14)
				{

					if(UART_Mode == 2 || UART_Mode == 3 || UART_Mode >= 8)
					{
						State = Frame1_CheckSum;
					}
					else if(UART_Mode == 1 || UART_Mode == 4 || UART_Mode == 5 || UART_Mode == 6)
					{
						State = Frame2_Data1;

					}
					else if(UART_Mode == 7)
					{
						State = Frame3_Station;
					}
				}
				break;

			case Frame1_CheckSum:
				ChkSum = ~(0b10010000 | UART_Mode);
				if(InputByte == ChkSum)
				{
					UART_Ack1();
					UART_Execute();
				}
				ChkSum = 0;
				State = Start;
				break;

			case Frame2_Data1:
				Data_Frame2[0] = InputByte;
				State = Frame2_Data2;
				break;

			case Frame2_Data2:
				Data_Frame2[1] = InputByte;
				State = Frame2_CheckSum;
				break;

			case Frame2_CheckSum:
				ChkSum = ~( (0b10010000 | UART_Mode) + Data_Frame2[0] + Data_Frame2[1] );
				if(InputByte == ChkSum)
				{
					UART_Ack1();
					UART_Execute();
				}
				ChkSum = 0;
				State = Start;
				break;

			case Frame3_Station:
				Multi_Station_Amount = InputByte;
				State = Frame3_Data;
				break;

			case Frame3_Data:
				Data_Frame3   [(int)Multi_Station_Current/2] = InputByte;
				Multi_Station [Multi_Station_Current]        = InputByte & 0b00001111;
				Multi_Station [Multi_Station_Current+1] 	 = InputByte >> 4;
				Multi_Station_Current += 2;
				if(Multi_Station_Current >= Multi_Station_Amount)
				{
					Multi_Station_Current = 0;
					State = Frame3_CheckSum;
				}
				break;

			case Frame3_CheckSum:
				ChkSum = (0b10010000 | UART_Mode);
				ChkSum += Multi_Station_Amount;
				for(int i=0 ; i < (int)((Multi_Station_Amount+1)/2) ; i++)
				{
					ChkSum += Data_Frame3[i];
				}
				ChkSum = ~(ChkSum);
				if(InputByte == ChkSum)
				{
					UART_Ack1();
					UART_Execute();
				}
				ChkSum = 0;
				State = Start;
				break;

			default:
				State = Start;
				break;
		}
	}

}

void UART_Execute()
{
	switch(UART_Mode)
	{
		case 1:
			break;
		case 2:
			MCU_Connected = 1;
			break;
		case 3:
			MCU_Connected = 0;
			break;
		case 4:
			Max_Speed = Data_Frame2[1] * 10 / 255;
			break;
		case 5:
			Goal_Mode = 1;
			Goal_Angle = (Data_Frame2[0] * 256) + Data_Frame2[1];
			Goal_Angle = Goal_Angle / (pi * 10000) * 180.0;
			angle = round(Goal_Angle);
			Lastest_Angle = Current_Angle;
			break;
		case 6:
			Goal_Mode = 2;
			Single_Station = Data_Frame2[1];
			angle = Multi_Station_Angle[Single_Station];
			Lastest_Angle = Current_Angle;
			break;
		case 7:
			Goal_Mode = 3;
			Current_Multi_Station = 0;
			angle = Multi_Station_Angle[ Multi_Station[Current_Multi_Station] ];
			Lastest_Angle = Current_Angle;
			break;
		case 8:
			t = 0;
			Run = 1;
			break;
		case 9:
			UART_Flow2();
			break;
		case 10:
			Current_Angle = ( EncoderPosition_Update() * 360.0 / 7200.0 );
			UART_Flow2();
			break;
		case 11:
			Speed = ( omega_est * 9.5493 );
			if(Speed < 0) { Speed = 0 - Speed; }
			UART_Flow2();
			break;
		case 12:
			EndEff_Enable = 1;
			break;
		case 13:
			EndEff_Enable = 0;
			break;
		case 14:
			Home = 1;
			HomeMode = 1;
			HomeTimestamp = micros();
			break;
		case 15:
			break;
	}
	UART_Mode = 0;
}

//******************************************************************
/* USER CODE END 4 */

void Error_Handler(void)
{
  __disable_irq();
  while (1)
  {
  }
}

/************************ (C) COPYRIGHT STMicroelectronics *****END OF FILE****/
